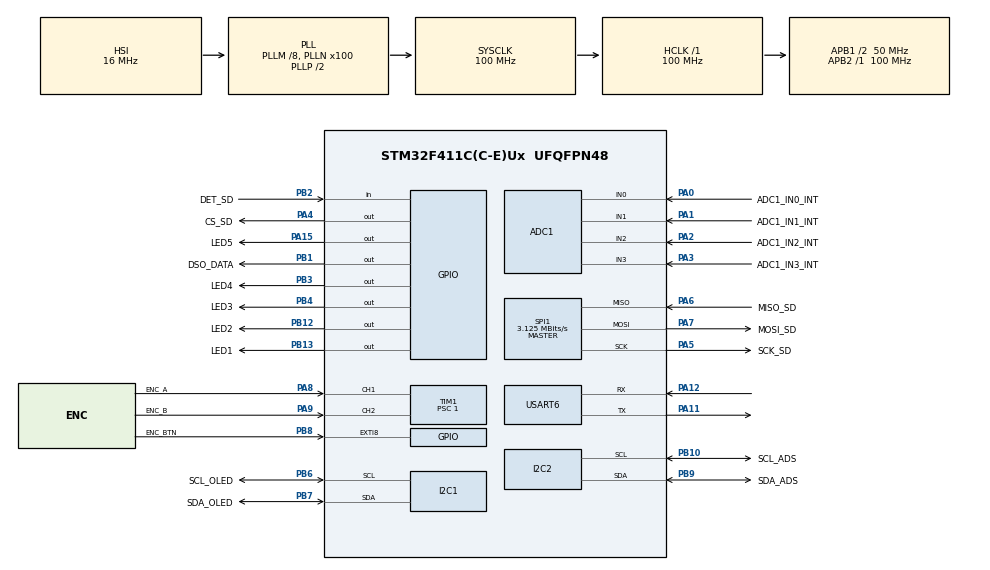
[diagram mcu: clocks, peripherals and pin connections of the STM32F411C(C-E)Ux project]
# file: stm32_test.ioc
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ADC1.Channel-0\#ChannelRegularConversion=ADC_CHANNEL_0
ADC1.ContinuousConvMode=DISABLE
ADC1.NbrOfConversion=1
ADC1.NbrOfConversionFlag=1
ADC1.Rank-0\#ChannelRegularConversion=1
ADC1.SamplingTime-0\#ChannelRegularConversion=ADC_SAMPLETIME_28CYCLES
ADC1.ScanConvMode=DISABLE
ADC1.master=1
Mcu.Family=STM32F4
Mcu.Name=STM32F411C(C-E)Ux
Mcu.Package=UFQFPN48
NVIC.EXTI9_5_IRQn=true\:0\:0\:false\:false\:true\:true\:true\:true
NVIC.PriorityGroup=NVIC_PRIORITYGROUP_4
NVIC.TIM1_TRG_COM_TIM11_IRQn=true\:0\:0\:false\:false\:true\:true\:true\:true
NVIC.TIM1_UP_TIM10_IRQn=true\:0\:0\:false\:false\:true\:true\:true\:true
NVIC.TIM2_IRQn=true\:0\:0\:false\:false\:true\:true\:true\:true
PA0-WKUP.GPIO_Label=ADC1_IN0_INT
PA0-WKUP.Signal=ADCx_IN0
PA1.GPIO_Label=ADC1_IN1_INT
PA1.Signal=ADCx_IN1
PA11.Mode=Asynchronous
PA11.Signal=USART6_TX
PA12.Mode=Asynchronous
PA12.Signal=USART6_RX
PA15.GPIO_Label=LED5
PA15.Signal=GPIO_Output
PA2.GPIO_Label=ADC1_IN2_INT
PA2.Signal=ADCx_IN2
PA3.GPIO_Label=ADC1_IN3_INT
PA3.Signal=ADCx_IN3
PA4.GPIO_Label=CS_SD
PA4.GPIO_Speed=GPIO_SPEED_FREQ_LOW
PA4.PinState=GPIO_PIN_RESET
PA4.Signal=GPIO_Output
PA5.GPIO_Label=SCK_SD
PA5.GPIO_PuPd=GPIO_NOPULL
PA5.Mode=Full_Duplex_Master
PA5.Signal=SPI1_SCK
PA6.GPIO_Label=MISO_SD
PA6.GPIO_PuPd=GPIO_PULLUP
PA6.Mode=Full_Duplex_Master
PA6.Signal=SPI1_MISO
PA7.GPIO_Label=MOSI_SD
PA7.GPIO_PuPd=GPIO_PULLUP
PA7.Mode=Full_Duplex_Master
PA7.Signal=SPI1_MOSI
PA8.GPIO_Label=ENC_A
PA8.Signal=S_TIM1_CH1
PA9.GPIO_Label=ENC_B
PA9.Signal=S_TIM1_CH2
PB1.GPIO_Label=DSO_DATA
PB1.GPIO_ModeDefaultOutputPP=GPIO_MODE_OUTPUT_OD
PB1.GPIO_PuPd=GPIO_PULLUP
PB1.PinState=GPIO_PIN_SET
PB1.Signal=GPIO_Output
PB10.GPIO_Label=SCL_ADS
PB10.GPIO_Pu=GPIO_NOPULL
PB10.Mode=I2C
PB10.Signal=I2C2_SCL
PB12.GPIO_Label=LED2
PB12.Signal=GPIO_Output
PB13.GPIO_Label=LED1
PB13.Signal=GPIO_Output
PB2.GPIO_Label=DET_SD
PB2.GPIO_PuPd=GPIO_NOPULL
PB2.Signal=GPIO_Input
PB3.GPIO_Label=LED4
PB3.Signal=GPIO_Output
PB4.GPIO_Label=LED3
PB4.Signal=GPIO_Output
PB6.GPIO_Label=SCL_OLED
PB6.Mode=I2C
PB6.Signal=I2C1_SCL
PB7.GPIO_Label=SDA_OLED
PB7.GPIO_Pu=GPIO_NOPULL
PB7.Mode=I2C
PB7.Signal=I2C1_SDA
PB8.GPIO_Label=ENC_BTN
PB8.GPIO_ModeDefaultEXTI=GPIO_MODE_IT_FALLING
PB8.Signal=GPXTI8
PB9.GPIO_Label=SDA_ADS
PB9.GPIO_Pu=GPIO_NOPULL
PB9.Mode=I2C
PB9.Signal=I2C2_SDA
ProjectManager.HeapSize=0x200
ProjectManager.StackSize=0x400
ProjectManager.TargetToolchain=STM32CubeIDE
RCC.48MHZClocksFreq_Value=50000000
RCC.AHBFreq_Value=100000000
RCC.APB1CLKDivider=RCC_HCLK_DIV2
RCC.APB1Freq_Value=50000000
RCC.APB1TimFreq_Value=100000000
RCC.APB2Freq_Value=100000000
RCC.APB2TimFreq_Value=100000000
RCC.CortexFreq_Value=100000000
RCC.HCLKFreq_Value=100000000
RCC.HSE_VALUE=25000000
RCC.HSI_VALUE=16000000
RCC.LSE_VALUE=32768
RCC.PLLM=8
RCC.PLLN=100
RCC.RCC_RTC_Clock_Source=RCC_RTCCLKSOURCE_LSI
RCC.RCC_RTC_Clock_SourceVirtual=RCC_RTCCLKSOURCE_LSE
RCC.SYSCLKFreq_VALUE=100000000
RCC.SYSCLKSource=RCC_SYSCLKSOURCE_PLLCLK
RCC.VCOOutputFreq_Value=200000000
RTC.Date=6
RTC.Hours=1
RTC.Minutes=0
RTC.Month=RTC_MONTH_DECEMBER
RTC.WeekDay=RTC_WEEKDAY_WEDNESDAY
RTC.Year=23
SH.ADCx_IN0.0=ADC1_IN0,IN0
SH.ADCx_IN1.0=ADC1_IN1,IN1
SH.ADCx_IN2.0=ADC1_IN2,IN2
SH.ADCx_IN3.0=ADC1_IN3,IN3
SH.S_TIM1_CH1.0=TIM1_CH1,Encoder_Interface
SH.S_TIM1_CH2.0=TIM1_CH2,Encoder_Interface
SPI1.BaudRatePrescaler=SPI_BAUDRATEPRESCALER_32
SPI1.CalculateBaudRate=3.125 MBits/s
SPI1.Direction=SPI_DIRECTION_2LINES
SPI1.Mode=SPI_MODE_MASTER
SPI1.VirtualType=VM_MASTER
TIM1.CounterMode=TIM_COUNTERMODE_UP
TIM1.EncoderMode=TIM_ENCODERMODE_TI1
TIM1.IC1Filter=15
TIM1.IC1Polarity=TIM_ICPOLARITY_RISING
TIM1.IC1Prescaler=TIM_ICPSC_DIV1
TIM1.IC2Filter=15
TIM1.IC2Polarity=TIM_ICPOLARITY_RISING
TIM1.IC2Prescaler=TIM_ICPSC_DIV1
TIM1.Period=40
TIM1.Prescaler=1
TIM10.Prescaler=79
TIM11.Prescaler=10
TIM2.Channel-Output\ Compare1\ No\ Output=TIM_CHANNEL_1
TIM2.Channel-Output\ Compare2\ No\ Output=TIM_CHANNEL_2
TIM2.Channel-Output\ Compare3\ No\ Output=TIM_CHANNEL_3
TIM2.Channel-Output\ Compare4\ No\ Output=TIM_CHANNEL_4
TIM2.OC1Preload=DISABLE
TIM2.OCMode_1=TIM_OCMODE_TOGGLE
TIM2.OCMode_2=TIM_OCMODE_TOGGLE
TIM2.OCMode_3=TIM_OCMODE_TOGGLE
TIM2.OCMode_4=TIM_OCMODE_TOGGLE
TIM2.Period=4294967295
TIM2.Prescaler=999
TIM2.Pulse-Output\ Compare1\ No\ Output=50000
TIM2.Pulse-Output\ Compare2\ No\ Output=100000
TIM2.Pulse-Output\ Compare3\ No\ Output=200000
TIM2.Pulse-Output\ Compare4\ No\ Output=400000
USART6.VirtualMode=VM_ASYNC
VP_FATFS_VS_Generic.Mode=User_defined
VP_RTC_VS_RTC_Activate.Mode=RTC_Enabled
VP_RTC_VS_RTC_Calendar.Mode=RTC_Calendar
VP_TIM10_VS_ClockSourceINT.Mode=Enable_Timer
VP_TIM11_VS_ClockSourceINT.Mode=Enable_Timer
VP_TIM2_VS_ClockSourceINT.Mode=Internal
VP_TIM2_VS_no_output1.Mode=Output Compare1 No Output
VP_TIM2_VS_no_output2.Mode=Output Compare2 No Output
VP_TIM2_VS_no_output3.Mode=Output Compare3 No Output
VP_TIM2_VS_no_output4.Mode=Output Compare4 No Output
board=custom

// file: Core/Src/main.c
/* USER CODE BEGIN Header */
/**
  ******************************************************************************
  * @file           : main.c
  * @brief          : Main program body
  ******************************************************************************
  * @attention
  *
  * Copyright (c) 2023 STMicroelectronics.
  * All rights reserved.
  *
  * This software is licensed under terms that can be found in the LICENSE file
  * in the root directory of this software component.
  * If no LICENSE file comes with this software, it is provided AS-IS.
  *
  ******************************************************************************
  */
/* USER CODE END Header */
#include "main.h"
#include "fatfs.h"

/* USER CODE BEGIN Includes */
#include <stdio.h>
#include "ssd1306_conf.h"
#include "ssd1306_fonts.h"
#include "ssd1306_tests.h"
#include "ssd1306.h"
#include "oled.h"
#include "menu.h"
#include <string.h>
#include <stdbool.h>
#include "encoder.h"
#include "ds18b20.h"
#include "string.h"
#include "main.h"
#include "sd.h"
#include "save.h"
/* USER CODE END Includes */

ADC_HandleTypeDef hadc1;

I2C_HandleTypeDef hi2c1;
I2C_HandleTypeDef hi2c2;

RTC_HandleTypeDef hrtc;

SPI_HandleTypeDef hspi1;

TIM_HandleTypeDef htim1;
TIM_HandleTypeDef htim2;
TIM_HandleTypeDef htim10;
TIM_HandleTypeDef htim11;

UART_HandleTypeDef huart6;

void SystemClock_Config(void);
static void MX_GPIO_Init(void);
static void MX_ADC1_Init(void);
static void MX_I2C1_Init(void);
static void MX_I2C2_Init(void);
static void MX_SPI1_Init(void);
static void MX_TIM1_Init(void);
static void MX_USART6_UART_Init(void);
static void MX_TIM10_Init(void);
static void MX_TIM11_Init(void);
static void MX_TIM2_Init(void);
static void MX_RTC_Init(void);

/* USER CODE BEGIN 0 */
int8_t encClicked=0;
int8_t ch1przerwanie=0;
int8_t ch2przerwanie=0;
int8_t ch3przerwanie=0;
int8_t ch4przerwanie=0;

void send_uart(char *string) {
	uint8_t len = strlen(string);
	HAL_UART_Transmit(&huart6, (uint8_t *)string, len, HAL_MAX_DELAY);
}

void HAL_TIM_PeriodElapsedCallback(TIM_HandleTypeDef *htim) {
	if(htim->Instance == TIM11) {
		HAL_TIM_Base_Stop_IT(htim);
		if(HAL_GPIO_ReadPin(ENC_BTN_GPIO_Port, ENC_BTN_Pin)==GPIO_PIN_RESET) {
			encClicked=1;
			}
		}
	}

void HAL_TIM_OC_DelayElapsedCallback(TIM_HandleTypeDef *htim) {
  uint32_t pulse;
  if(htim->Channel == HAL_TIM_ACTIVE_CHANNEL_1) {
    pulse = HAL_TIM_ReadCapturedValue(htim, TIM_CHANNEL_1);
    ch1przerwanie=1;
      __HAL_TIM_SET_COMPARE(htim, TIM_CHANNEL_1, (pulse + 50000));
  }

  if(htim->Channel == HAL_TIM_ACTIVE_CHANNEL_2) {
	pulse = HAL_TIM_ReadCapturedValue(htim, TIM_CHANNEL_2);
	ch2przerwanie=1;
	__HAL_TIM_SET_COMPARE(htim, TIM_CHANNEL_2, (pulse + 100000));
  	  }

  if(htim->Channel == HAL_TIM_ACTIVE_CHANNEL_3) {
    pulse = HAL_TIM_ReadCapturedValue(htim, TIM_CHANNEL_3);
    ch3przerwanie=1;
    __HAL_TIM_SET_COMPARE(htim, TIM_CHANNEL_3, (pulse + 200000));
    }

  if(htim->Channel == HAL_TIM_ACTIVE_CHANNEL_4) {
    pulse = HAL_TIM_ReadCapturedValue(htim, TIM_CHANNEL_4);
    ch4przerwanie=1;
    __HAL_TIM_SET_COMPARE(htim, TIM_CHANNEL_4, (pulse + 400000));
    }
}

char charAr[50];

void HAL_GPIO_EXTI_Callback(uint16_t GPIO_Pin) {
	  if(GPIO_Pin == ENC_BTN_Pin) {
		  HAL_TIM_Base_Start_IT(&htim11);
	  }
}

bool isClicked(void) {
	if(encClicked==1) {
		encClicked=0;
		return true;
	}
	else {
		return false;
	}
}

void send_uart_uint32(uint32_t value) {
    char buffer[20];
    snprintf(buffer, sizeof(buffer), "%lu \n\r", value);
    HAL_UART_Transmit(&huart6, (uint8_t *)buffer, strlen(buffer), HAL_MAX_DELAY);
}

void send_uart_float(float value) {
    char buffer[20];
    snprintf(buffer, sizeof(buffer), "%0.2f \n\r", value);
    HAL_UART_Transmit(&huart6, (uint8_t *)buffer, strlen(buffer), HAL_MAX_DELAY);
}
RTC_TimeTypeDef time;
RTC_DateTypeDef date;
char* getRtcString(void)  {
	static char dateTime[100];
	char rtcTimeStr[50];
	char rtcDateStr[50];
	HAL_RTC_GetTime(&hrtc, &time, RTC_FORMAT_BIN);
	HAL_RTC_GetDate(&hrtc, &date, RTC_FORMAT_BIN);
	sprintf(rtcTimeStr, "%02d:%02d:%02d", time.Hours, time.Minutes, time.Seconds);
	sprintf(rtcDateStr, "%02d/%02d/%02d", date.Date, date.Month, date.Year);
	sprintf(dateTime, "%s %s", rtcTimeStr, rtcDateStr);

	return dateTime;
}

LED leds[] = {
		{GPIOB, GPIO_PIN_13, false}, //LED1
		{GPIOB, GPIO_PIN_12, false},
		{GPIOB, GPIO_PIN_4, false},
		{GPIOB, GPIO_PIN_3, false},
		{GPIOA, GPIO_PIN_15, false}
};

bool debug;
volatile const char *dataFromBuff;

/* USER CODE END 0 */

int main(void)
{

  /* MCU Configuration--------------------------------------------------------*/

  /* Reset of all peripherals, Initializes the Flash interface and the Systick. */
  HAL_Init();

  /* Configure the system clock */
  SystemClock_Config();

  /* Initialize all configured peripherals */
  MX_GPIO_Init();
  MX_ADC1_Init();
  MX_I2C1_Init();
  MX_I2C2_Init();
  MX_SPI1_Init();
  MX_TIM1_Init();
  MX_USART6_UART_Init();
  MX_TIM10_Init();
  MX_TIM11_Init();
  MX_TIM2_Init();
  MX_FATFS_Init();
  MX_RTC_Init();
  /* USER CODE BEGIN 2 */
  encoderInit(&htim1);

  ds18_init(&htim10);

  adc_int_init(&hadc1);
  adc_ext_init(&hi2c2);
  huart_ds_init(&huart6);
  sendRtcHandler(&hrtc);
  HAL_TIM_Base_Start(&htim10);
  displayInit();

  CircularBuffer_Init(&cb);
  sd_init();

  debug=false;

  /* USER CODE END 2 */

  /* Infinite loop */
  /* USER CODE BEGIN WHILE */
  HAL_TIM_Encoder_Start_IT(&htim1, TIM_CHANNEL_ALL);

  HAL_TIM_OC_Start_IT(&htim2, TIM_CHANNEL_1);
  HAL_TIM_OC_Start_IT(&htim2, TIM_CHANNEL_2);
  HAL_TIM_OC_Start_IT(&htim2, TIM_CHANNEL_3);
  HAL_TIM_OC_Start_IT(&htim2, TIM_CHANNEL_4);
  while (1)
  {
    /* USER CODE END WHILE */

    /* USER CODE BEGIN 3 */

	  if(debug) {
		  bool needToWrite=false;
		  if(ch1przerwanie==1) {
			  ch1Enable();
			  ch1przerwanie=0;
			  needToWrite=true;
		  }
		  if(ch2przerwanie==1) {
			  ch2przerwanie=0;
			  ch2Enable();
			  needToWrite=true;
		  }
		  if(ch3przerwanie==1) {
			  ch3przerwanie=0;
			  ch3Enable();
			  needToWrite=true;
			  }
		  if(ch4przerwanie==1) {
			  ch4przerwanie=0;
			  ch4Enable();
			  needToWrite=true;
		  }
		  if(needToWrite) {

			  char* dateTimeStr = getRtcString();
			  char finalResults[2048] = "";
			  char temp[100];
			  bool allNulls=true;
			  snprintf(finalResults, sizeof(finalResults), "%s,", dateTimeStr);

			  for (int i = 0; i < 11; i++) {
				  if (sensors[i].hasValue) {
					  snprintf(temp, sizeof(temp), "%f", sensors[i].lastValue);
					  allNulls=false;
				  } else {
					  snprintf(temp, sizeof(temp), "");
				  }
				  strncat(finalResults, temp, sizeof(finalResults) - strlen(finalResults) - 1);
				  if (i < 10) {
					  strncat(finalResults, ",", sizeof(finalResults) - strlen(finalResults) - 1);
				  }
				  sensors[i].hasValue = false;
			  }
			      strncat(finalResults, "\n", sizeof(finalResults) - strlen(finalResults) - 1);
			      if(!allNulls) {
			    	  CircularBuffer_Add(&cb, finalResults);
			      }
			      dataFromBuff = CircularBuffer_Read(&cb);
				  send_uart(dataFromBuff);
				  sd_writeline(dataFromBuff);

		  }
		  leds[4].state=true;
	  }
	  else {
		  leds[4].state=false;
	  }
	displayMenu();
	for(int i=0; i<sizeof(leds)/sizeof(leds[0]); i++) {
		if(leds[i].state) {
			HAL_GPIO_WritePin(leds[i].port, leds[i].pin, GPIO_PIN_SET);
		}
		else {
			HAL_GPIO_WritePin(leds[i].port, leds[i].pin, GPIO_PIN_RESET);
		}
	}
  }
  /* USER CODE END 3 */
}

void SystemClock_Config(void)
{
  RCC_OscInitTypeDef RCC_OscInitStruct = {0};
  RCC_ClkInitTypeDef RCC_ClkInitStruct = {0};

  /** Configure the main internal regulator output voltage
  */
  __HAL_RCC_PWR_CLK_ENABLE();
  __HAL_PWR_VOLTAGESCALING_CONFIG(PWR_REGULATOR_VOLTAGE_SCALE1);

  /** Initializes the RCC Oscillators according to the specified parameters
  * in the RCC_OscInitTypeDef structure.
  */
  RCC_OscInitStruct.OscillatorType = RCC_OSCILLATORTYPE_HSI|RCC_OSCILLATORTYPE_LSI;
  RCC_OscInitStruct.HSIState = RCC_HSI_ON;
  RCC_OscInitStruct.HSICalibrationValue = RCC_HSICALIBRATION_DEFAULT;
  RCC_OscInitStruct.LSIState = RCC_LSI_ON;
  RCC_OscInitStruct.PLL.PLLState = RCC_PLL_ON;
  RCC_OscInitStruct.PLL.PLLSource = RCC_PLLSOURCE_HSI;
  RCC_OscInitStruct.PLL.PLLM = 8;
  RCC_OscInitStruct.PLL.PLLN = 100;
  RCC_OscInitStruct.PLL.PLLP = RCC_PLLP_DIV2;
  RCC_OscInitStruct.PLL.PLLQ = 4;
  if (HAL_RCC_OscConfig(&RCC_OscInitStruct) != HAL_OK)
  {
    Error_Handler();
  }

  /** Initializes the CPU, AHB and APB buses clocks
  */
  RCC_ClkInitStruct.ClockType = RCC_CLOCKTYPE_HCLK|RCC_CLOCKTYPE_SYSCLK
                              |RCC_CLOCKTYPE_PCLK1|RCC_CLOCKTYPE_PCLK2;
  RCC_ClkInitStruct.SYSCLKSource = RCC_SYSCLKSOURCE_PLLCLK;
  RCC_ClkInitStruct.AHBCLKDivider = RCC_SYSCLK_DIV1;
  RCC_ClkInitStruct.APB1CLKDivider = RCC_HCLK_DIV2;
  RCC_ClkInitStruct.APB2CLKDivider = RCC_HCLK_DIV1;

  if (HAL_RCC_ClockConfig(&RCC_ClkInitStruct, FLASH_LATENCY_3) != HAL_OK)
  {
    Error_Handler();
  }
}

static void MX_ADC1_Init(void)
{

  ADC_ChannelConfTypeDef sConfig = {0};

  /** Configure the global features of the ADC (Clock, Resolution, Data Alignment and number of conversion)
  */
  hadc1.Instance = ADC1;
  hadc1.Init.ClockPrescaler = ADC_CLOCK_SYNC_PCLK_DIV4;
  hadc1.Init.Resolution = ADC_RESOLUTION_12B;
  hadc1.Init.ScanConvMode = DISABLE;
  hadc1.Init.ContinuousConvMode = DISABLE;
  hadc1.Init.DiscontinuousConvMode = DISABLE;
  hadc1.Init.ExternalTrigConvEdge = ADC_EXTERNALTRIGCONVEDGE_NONE;
  hadc1.Init.ExternalTrigConv = ADC_SOFTWARE_START;
  hadc1.Init.DataAlign = ADC_DATAALIGN_RIGHT;
  hadc1.Init.NbrOfConversion = 1;
  hadc1.Init.DMAContinuousRequests = DISABLE;
  hadc1.Init.EOCSelection = ADC_EOC_SINGLE_CONV;
  if (HAL_ADC_Init(&hadc1) != HAL_OK)
  {
    Error_Handler();
  }

  /** Configure for the selected ADC regular channel its corresponding rank in the sequencer and its sample time.
  */
  sConfig.Channel = ADC_CHANNEL_0;
  sConfig.Rank = 1;
  sConfig.SamplingTime = ADC_SAMPLETIME_28CYCLES;
  if (HAL_ADC_ConfigChannel(&hadc1, &sConfig) != HAL_OK)
  {
    Error_Handler();
  }

}

static void MX_I2C1_Init(void)
{

  hi2c1.Instance = I2C1;
  hi2c1.Init.ClockSpeed = 100000;
  hi2c1.Init.DutyCycle = I2C_DUTYCYCLE_2;
  hi2c1.Init.OwnAddress1 = 0;
  hi2c1.Init.AddressingMode = I2C_ADDRESSINGMODE_7BIT;
  hi2c1.Init.DualAddressMode = I2C_DUALADDRESS_DISABLE;
  hi2c1.Init.OwnAddress2 = 0;
  hi2c1.Init.GeneralCallMode = I2C_GENERALCALL_DISABLE;
  hi2c1.Init.NoStretchMode = I2C_NOSTRETCH_DISABLE;
  if (HAL_I2C_Init(&hi2c1) != HAL_OK)
  {
    Error_Handler();
  }

}

static void MX_I2C2_Init(void)
{

  hi2c2.Instance = I2C2;
  hi2c2.Init.ClockSpeed = 100000;
  hi2c2.Init.DutyCycle = I2C_DUTYCYCLE_2;
  hi2c2.Init.OwnAddress1 = 0;
  hi2c2.Init.AddressingMode = I2C_ADDRESSINGMODE_7BIT;
  hi2c2.Init.DualAddressMode = I2C_DUALADDRESS_DISABLE;
  hi2c2.Init.OwnAddress2 = 0;
  hi2c2.Init.GeneralCallMode = I2C_GENERALCALL_DISABLE;
  hi2c2.Init.NoStretchMode = I2C_NOSTRETCH_DISABLE;
  if (HAL_I2C_Init(&hi2c2) != HAL_OK)
  {
    Error_Handler();
  }

}

static void MX_RTC_Init(void)
{

  RTC_TimeTypeDef sTime = {0};
  RTC_DateTypeDef sDate = {0};

  /** Initialize RTC Only
  */
  hrtc.Instance = RTC;
  hrtc.Init.HourFormat = RTC_HOURFORMAT_24;
  hrtc.Init.AsynchPrediv = 127;
  hrtc.Init.SynchPrediv = 255;
  hrtc.Init.OutPut = RTC_OUTPUT_DISABLE;
  hrtc.Init.OutPutPolarity = RTC_OUTPUT_POLARITY_HIGH;
  hrtc.Init.OutPutType = RTC_OUTPUT_TYPE_OPENDRAIN;
  if (HAL_RTC_Init(&hrtc) != HAL_OK)
  {
    Error_Handler();
  }

  /** Initialize RTC and set the Time and Date
  */
  sTime.Hours = 0x1;
  sTime.Minutes = 0x0;
  sTime.Seconds = 0x0;
  sTime.DayLightSaving = RTC_DAYLIGHTSAVING_NONE;
  sTime.StoreOperation = RTC_STOREOPERATION_RESET;
  if (HAL_RTC_SetTime(&hrtc, &sTime, RTC_FORMAT_BCD) != HAL_OK)
  {
    Error_Handler();
  }
  sDate.WeekDay = RTC_WEEKDAY_WEDNESDAY;
  sDate.Month = RTC_MONTH_DECEMBER;
  sDate.Date = 0x6;
  sDate.Year = 0x23;

  if (HAL_RTC_SetDate(&hrtc, &sDate, RTC_FORMAT_BCD) != HAL_OK)
  {
    Error_Handler();
  }

}

static void MX_SPI1_Init(void)
{

  /* SPI1 parameter configuration*/
  hspi1.Instance = SPI1;
  hspi1.Init.Mode = SPI_MODE_MASTER;
  hspi1.Init.Direction = SPI_DIRECTION_2LINES;
  hspi1.Init.DataSize = SPI_DATASIZE_8BIT;
  hspi1.Init.CLKPolarity = SPI_POLARITY_LOW;
  hspi1.Init.CLKPhase = SPI_PHASE_1EDGE;
  hspi1.Init.NSS = SPI_NSS_SOFT;
  hspi1.Init.BaudRatePrescaler = SPI_BAUDRATEPRESCALER_32;
  hspi1.Init.FirstBit = SPI_FIRSTBIT_MSB;
  hspi1.Init.TIMode = SPI_TIMODE_DISABLE;
  hspi1.Init.CRCCalculation = SPI_CRCCALCULATION_DISABLE;
  hspi1.Init.CRCPolynomial = 10;
  if (HAL_SPI_Init(&hspi1) != HAL_OK)
  {
    Error_Handler();
  }

}

static void MX_TIM1_Init(void)
{

  TIM_Encoder_InitTypeDef sConfig = {0};
  TIM_MasterConfigTypeDef sMasterConfig = {0};

  htim1.Instance = TIM1;
  htim1.Init.Prescaler = 1;
  htim1.Init.CounterMode = TIM_COUNTERMODE_UP;
  htim1.Init.Period = 40;
  htim1.Init.ClockDivision = TIM_CLOCKDIVISION_DIV1;
  htim1.Init.RepetitionCounter = 0;
  htim1.Init.AutoReloadPreload = TIM_AUTORELOAD_PRELOAD_DISABLE;
  sConfig.EncoderMode = TIM_ENCODERMODE_TI1;
  sConfig.IC1Polarity = TIM_ICPOLARITY_RISING;
  sConfig.IC1Selection = TIM_ICSELECTION_DIRECTTI;
  sConfig.IC1Prescaler = TIM_ICPSC_DIV1;
  sConfig.IC1Filter = 15;
  sConfig.IC2Polarity = TIM_ICPOLARITY_RISING;
  sConfig.IC2Selection = TIM_ICSELECTION_DIRECTTI;
  sConfig.IC2Prescaler = TIM_ICPSC_DIV1;
  sConfig.IC2Filter = 15;
  if (HAL_TIM_Encoder_Init(&htim1, &sConfig) != HAL_OK)
  {
    Error_Handler();
  }
  sMasterConfig.MasterOutputTrigger = TIM_TRGO_RESET;
  sMasterConfig.MasterSlaveMode = TIM_MASTERSLAVEMODE_DISABLE;
  if (HAL_TIMEx_MasterConfigSynchronization(&htim1, &sMasterConfig) != HAL_OK)
  {
    Error_Handler();
  }

}

static void MX_TIM2_Init(void)
{

  TIM_ClockConfigTypeDef sClockSourceConfig = {0};
  TIM_MasterConfigTypeDef sMasterConfig = {0};
  TIM_OC_InitTypeDef sConfigOC = {0};

  htim2.Instance = TIM2;
  htim2.Init.Prescaler = 999;
  htim2.Init.CounterMode = TIM_COUNTERMODE_UP;
  htim2.Init.Period = 4294967295;
  htim2.Init.ClockDivision = TIM_CLOCKDIVISION_DIV1;
  htim2.Init.AutoReloadPreload = TIM_AUTORELOAD_PRELOAD_DISABLE;
  if (HAL_TIM_Base_Init(&htim2) != HAL_OK)
  {
    Error_Handler();
  }
  sClockSourceConfig.ClockSource = TIM_CLOCKSOURCE_INTERNAL;
  if (HAL_TIM_ConfigClockSource(&htim2, &sClockSourceConfig) != HAL_OK)
  {
    Error_Handler();
  }
  if (HAL_TIM_OC_Init(&htim2) != HAL_OK)
  {
    Error_Handler();
  }
  sMasterConfig.MasterOutputTrigger = TIM_TRGO_RESET;
  sMasterConfig.MasterSlaveMode = TIM_MASTERSLAVEMODE_DISABLE;
  if (HAL_TIMEx_MasterConfigSynchronization(&htim2, &sMasterConfig) != HAL_OK)
  {
    Error_Handler();
  }
  sConfigOC.OCMode = TIM_OCMODE_TOGGLE;
  sConfigOC.Pulse = 50000;
  sConfigOC.OCPolarity = TIM_OCPOLARITY_HIGH;
  sConfigOC.OCFastMode = TIM_OCFAST_DISABLE;
  if (HAL_TIM_OC_ConfigChannel(&htim2, &sConfigOC, TIM_CHANNEL_1) != HAL_OK)
  {
    Error_Handler();
  }
  sConfigOC.Pulse = 100000;
  if (HAL_TIM_OC_ConfigChannel(&htim2, &sConfigOC, TIM_CHANNEL_2) != HAL_OK)
  {
    Error_Handler();
  }
  sConfigOC.Pulse = 200000;
  if (HAL_TIM_OC_ConfigChannel(&htim2, &sConfigOC, TIM_CHANNEL_3) != HAL_OK)
  {
    Error_Handler();
  }
  sConfigOC.Pulse = 400000;
  if (HAL_TIM_OC_ConfigChannel(&htim2, &sConfigOC, TIM_CHANNEL_4) != HAL_OK)
  {
    Error_Handler();
  }

}

static void MX_TIM10_Init(void)
{

  htim10.Instance = TIM10;
  htim10.Init.Prescaler = 79;
  htim10.Init.CounterMode = TIM_COUNTERMODE_UP;
  htim10.Init.Period = 65535;
  htim10.Init.ClockDivision = TIM_CLOCKDIVISION_DIV1;
  htim10.Init.AutoReloadPreload = TIM_AUTORELOAD_PRELOAD_DISABLE;
  if (HAL_TIM_Base_Init(&htim10) != HAL_OK)
  {
    Error_Handler();
  }

}

static void MX_TIM11_Init(void)
{

  htim11.Instance = TIM11;
  htim11.Init.Prescaler = 10;
  htim11.Init.CounterMode = TIM_COUNTERMODE_UP;
  htim11.Init.Period = 65535;
  htim11.Init.ClockDivision = TIM_CLOCKDIVISION_DIV1;
  htim11.Init.AutoReloadPreload = TIM_AUTORELOAD_PRELOAD_DISABLE;
  if (HAL_TIM_Base_Init(&htim11) != HAL_OK)
  {
    Error_Handler();
  }

}

static void MX_USART6_UART_Init(void)
{

  huart6.Instance = USART6;
  huart6.Init.BaudRate = 115200;
  huart6.Init.WordLength = UART_WORDLENGTH_8B;
  huart6.Init.StopBits = UART_STOPBITS_1;
  huart6.Init.Parity = UART_PARITY_NONE;
  huart6.Init.Mode = UART_MODE_TX_RX;
  huart6.Init.HwFlowCtl = UART_HWCONTROL_NONE;
  huart6.Init.OverSampling = UART_OVERSAMPLING_16;
  if (HAL_UART_Init(&huart6) != HAL_OK)
  {
    Error_Handler();
  }

}

static void MX_GPIO_Init(void)
{
  GPIO_InitTypeDef GPIO_InitStruct = {0};

  /* GPIO Ports Clock Enable */
  __HAL_RCC_GPIOA_CLK_ENABLE();
  __HAL_RCC_GPIOB_CLK_ENABLE();

  /*Configure GPIO pin Output Level */
  HAL_GPIO_WritePin(GPIOA, CS_SD_Pin|LED5_Pin, GPIO_PIN_RESET);

  /*Configure GPIO pin Output Level */
  HAL_GPIO_WritePin(DSO_DATA_GPIO_Port, DSO_DATA_Pin, GPIO_PIN_SET);

  /*Configure GPIO pin Output Level */
  HAL_GPIO_WritePin(GPIOB, LED2_Pin|LED1_Pin|LED4_Pin|LED3_Pin, GPIO_PIN_RESET);

  /*Configure GPIO pins : CS_SD_Pin LED5_Pin */
  GPIO_InitStruct.Pin = CS_SD_Pin|LED5_Pin;
  GPIO_InitStruct.Mode = GPIO_MODE_OUTPUT_PP;
  GPIO_InitStruct.Pull = GPIO_NOPULL;
  GPIO_InitStruct.Speed = GPIO_SPEED_FREQ_LOW;
  HAL_GPIO_Init(GPIOA, &GPIO_InitStruct);

  /*Configure GPIO pin : DSO_DATA_Pin */
  GPIO_InitStruct.Pin = DSO_DATA_Pin;
  GPIO_InitStruct.Mode = GPIO_MODE_OUTPUT_OD;
  GPIO_InitStruct.Pull = GPIO_PULLUP;
  GPIO_InitStruct.Speed = GPIO_SPEED_FREQ_LOW;
  HAL_GPIO_Init(DSO_DATA_GPIO_Port, &GPIO_InitStruct);

  /*Configure GPIO pin : DET_SD_Pin */
  GPIO_InitStruct.Pin = DET_SD_Pin;
  GPIO_InitStruct.Mode = GPIO_MODE_INPUT;
  GPIO_InitStruct.Pull = GPIO_NOPULL;
  HAL_GPIO_Init(DET_SD_GPIO_Port, &GPIO_InitStruct);

  /*Configure GPIO pins : LED2_Pin LED1_Pin LED4_Pin LED3_Pin */
  GPIO_InitStruct.Pin = LED2_Pin|LED1_Pin|LED4_Pin|LED3_Pin;
  GPIO_InitStruct.Mode = GPIO_MODE_OUTPUT_PP;
  GPIO_InitStruct.Pull = GPIO_NOPULL;
  GPIO_InitStruct.Speed = GPIO_SPEED_FREQ_LOW;
  HAL_GPIO_Init(GPIOB, &GPIO_InitStruct);

  /*Configure GPIO pin : ENC_BTN_Pin */
  GPIO_InitStruct.Pin = ENC_BTN_Pin;
  GPIO_InitStruct.Mode = GPIO_MODE_IT_FALLING;
  GPIO_InitStruct.Pull = GPIO_NOPULL;
  HAL_GPIO_Init(ENC_BTN_GPIO_Port, &GPIO_InitStruct);

  /* EXTI interrupt init*/
  HAL_NVIC_SetPriority(EXTI9_5_IRQn, 0, 0);
  HAL_NVIC_EnableIRQ(EXTI9_5_IRQn);

}

void Error_Handler(void)
{
  /* USER CODE BEGIN Error_Handler_Debug */
  /* User can add his own implementation to report the HAL error return state */
  __disable_irq();
  while (1)
  {
	  send_uart("error handler loop"); //dodane
  }
  /* USER CODE END Error_Handler_Debug */
}
